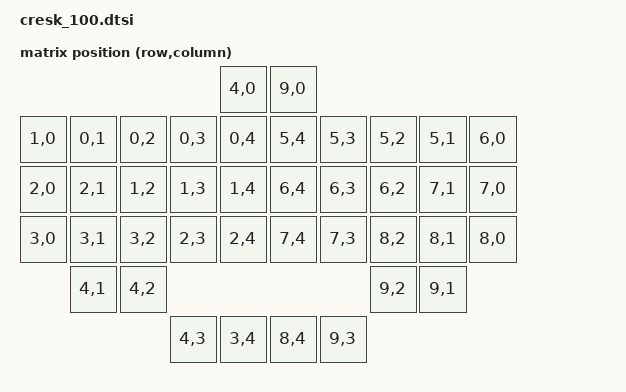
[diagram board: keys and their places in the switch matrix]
/*
 * Copyright (c) 2022 The ZMK Contributors
 *
 * SPDX-License-Identifier: MIT
 */

#include <dt-bindings/zmk/matrix_transform.h>

/ {
	chosen {
		zephyr,display = &oled;
		zephyr,code-partition = &code_partition;
		zmk,kscan = &kscan0;
		zmk,matrix_transform = &default_transform;
	};

	default_transform: keymap_transform_0 {
		compatible = "zmk,matrix-transform";
		columns = <5>;
		rows = <10>;

		map = <
                                RC(4,0)    RC(9,0)
RC(1,0) RC(0,1) RC(0,2) RC(0,3) RC(0,4)    RC(5,4) RC(5,3) RC(5,2) RC(5,1) RC(6,0)
RC(2,0) RC(2,1) RC(1,2) RC(1,3) RC(1,4)    RC(6,4) RC(6,3) RC(6,2) RC(7,1) RC(7,0)
RC(3,0) RC(3,1) RC(3,2) RC(2,3) RC(2,4)    RC(7,4) RC(7,3) RC(8,2) RC(8,1) RC(8,0)
        RC(4,1) RC(4,2)                                    RC(9,2) RC(9,1)
                        RC(4,3) RC(3,4)    RC(8,4) RC(9,3)
		>;
	};

	kscan0: kscan {
		compatible = "zmk,kscan-composite";
		label = "KSCAN";

		matrix_1 {
			kscan = <&kscan_matrix_1>;
		};

		matrix_2 {
			kscan = <&kscan_matrix_2>;
			row-offset = <5>;
		};
	};

	sensors {
		compatible = "zmk,keymap-sensors";
		sensors = <&left_encoder &right_encoder>;
	};
};

&i2c1 {
	status = "okay";

	oled: ssd1306@3c {
		compatible = "solomon,ssd1306fb";
		reg = <0x3c>;
		width = <128>;
		height = <32>;
		segment-offset = <0>;
		page-offset = <0>;
		display-offset = <0>;
		multiplex-ratio = <31>;
		com-sequential;
		prechargep = <0x22>;
	};
};
